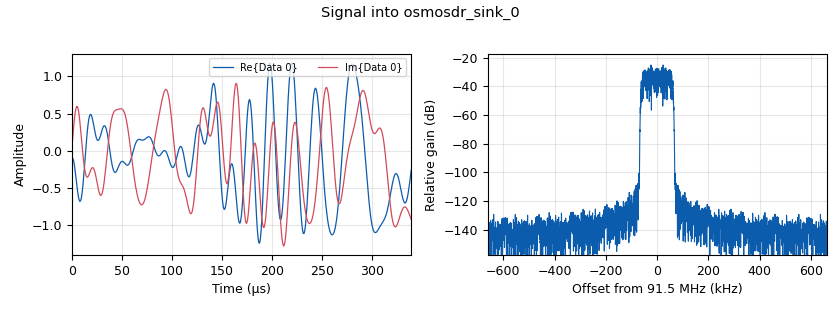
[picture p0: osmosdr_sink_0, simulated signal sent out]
<?xml version='1.0' encoding='utf-8'?>
<?grc format='1' created='3.7.9'?>
<flow_graph>
<block>
<key>options</key>
<param><key>id</key><value>hackrfTransmit</value></param>
<param><key>category</key><value>Custom</value></param>
<param><key>generate_options</key><value>qt_gui</value></param>
<param><key>realtime_scheduling</key><value>1</value></param>
</block>
<block>
<key>variable_qtgui_range</key>
<param><key>id</key><value>Audio_Rate</value></param>
<param><key>value</key><value>44100</value></param>
<param><key>label</key><value>Audio Rate</value></param>
<param><key>orient</key><value>Qt.Horizontal</value></param>
<param><key>start</key><value>0</value></param>
<param><key>step</key><value>1</value></param>
<param><key>stop</key><value>10000000</value></param>
<param><key>rangeType</key><value>int</value></param>
</block>
<block>
<key>variable</key>
<param><key>id</key><value>audio_samp</value></param>
<param><key>value</key><value>Audio_Rate</value></param>
</block>
<block>
<key>variable_qtgui_range</key>
<param><key>id</key><value>decimation</value></param>
<param><key>value</key><value>1</value></param>
<param><key>label</key><value>decimation</value></param>
<param><key>orient</key><value>Qt.Horizontal</value></param>
<param><key>start</key><value>0</value></param>
<param><key>step</key><value>1</value></param>
<param><key>stop</key><value>100</value></param>
<param><key>rangeType</key><value>int</value></param>
</block>
<block>
<key>variable</key>
<param><key>id</key><value>freq</value></param>
<param><key>value</key><value>freq_sldr</value></param>
</block>
<block>
<key>variable_qtgui_range</key>
<param><key>id</key><value>freq_sldr</value></param>
<param><key>value</key><value>91.5e6</value></param>
<param><key>label</key><value>Frequency Slider</value></param>
<param><key>orient</key><value>Qt.Horizontal</value></param>
<param><key>start</key><value>0</value></param>
<param><key>step</key><value>1</value></param>
<param><key>stop</key><value>6000.0e6</value></param>
</block>
<block>
<key>variable_qtgui_range</key>
<param><key>id</key><value>interpolation</value></param>
<param><key>value</key><value>10</value></param>
<param><key>label</key><value>Rational Resampler</value></param>
<param><key>orient</key><value>Qt.Horizontal</value></param>
<param><key>start</key><value>0</value></param>
<param><key>step</key><value>1</value></param>
<param><key>stop</key><value>100</value></param>
<param><key>rangeType</key><value>int</value></param>
</block>
<block>
<key>variable</key>
<param><key>id</key><value>quad_rate</value></param>
<param><key>value</key><value>audio_samp*3</value></param>
</block>
<block>
<key>variable</key>
<param><key>id</key><value>samp_rate</value></param>
<param><key>comment</key><value>1.323M
1.03M is lowest</value></param>
<param><key>value</key><value>samp_rate_sldr</value></param>
</block>
<block>
<key>variable_qtgui_range</key>
<param><key>id</key><value>samp_rate_sldr</value></param>
<param><key>value</key><value>1.323e6</value></param>
<param><key>label</key><value>Sample Rate Slider</value></param>
<param><key>orient</key><value>Qt.Horizontal</value></param>
<param><key>start</key><value>0</value></param>
<param><key>step</key><value>1</value></param>
<param><key>stop</key><value>6.00e6</value></param>
</block>
<block>
<key>analog_sig_source_x</key>
<param><key>id</key><value>analog_sig_source_x_0_0</value></param>
<param><key>amp</key><value>.8</value></param>
<param><key>freq</key><value>600</value></param>
<param><key>offset</key><value>0</value></param>
<param><key>type</key><value>float</value></param>
<param><key>samp_rate</key><value>48000</value></param>
<param><key>waveform</key><value>analog.GR_SIN_WAVE</value></param>
</block>
<block>
<key>analog_sig_source_x</key>
<param><key>id</key><value>analog_sig_source_x_0_0_0</value></param>
<param><key>amp</key><value>.8</value></param>
<param><key>freq</key><value>1000</value></param>
<param><key>offset</key><value>0</value></param>
<param><key>type</key><value>float</value></param>
<param><key>samp_rate</key><value>48000</value></param>
<param><key>waveform</key><value>analog.GR_SIN_WAVE</value></param>
</block>
<block>
<key>analog_sig_source_x</key>
<param><key>id</key><value>analog_sig_source_x_1</value></param>
<param><key>amp</key><value>1</value></param>
<param><key>freq</key><value>1</value></param>
<param><key>offset</key><value>0</value></param>
<param><key>type</key><value>float</value></param>
<param><key>samp_rate</key><value>48000</value></param>
<param><key>waveform</key><value>analog.GR_SQR_WAVE</value></param>
</block>
<block>
<key>analog_wfm_tx</key>
<param><key>id</key><value>analog_wfm_tx_0</value></param>
<param><key>audio_rate</key><value>audio_samp</value></param>
<param><key>max_dev</key><value>75e3</value></param>
<param><key>quad_rate</key><value>quad_rate</value></param>
<param><key>tau</key><value>75e-6</value></param>
</block>
<block>
<key>blocks_abs_xx</key>
<param><key>id</key><value>blocks_abs_xx_0</value></param>
<param><key>type</key><value>float</value></param>
</block>
<block>
<key>blocks_add_const_vxx</key>
<param><key>id</key><value>blocks_add_const_vxx_0</value></param>
<param><key>const</key><value>-1</value></param>
<param><key>type</key><value>float</value></param>
</block>
<block>
<key>blocks_add_xx</key>
<param><key>id</key><value>blocks_add_xx_0</value></param>
<param><key>type</key><value>float</value></param>
</block>
<block>
<key>blocks_multiply_xx</key>
<param><key>id</key><value>blocks_multiply_xx_0</value></param>
<param><key>type</key><value>float</value></param>
</block>
<block>
<key>blocks_multiply_xx</key>
<param><key>id</key><value>blocks_multiply_xx_0_0</value></param>
<param><key>type</key><value>float</value></param>
</block>
<block>
<key>osmosdr_sink</key>
<param><key>id</key><value>osmosdr_sink_0</value></param>
<param><key>bb_gain0</key><value>0</value></param>
<param><key>freq0</key><value>freq</value></param>
<param><key>if_gain0</key><value>47</value></param>
<param><key>gain0</key><value>14</value></param>
<param><key>args</key><value></value></param>
<param><key>type</key><value>fc32</value></param>
<param><key>sample_rate</key><value>samp_rate</value></param>
<param><key>sync</key><value></value></param>
</block>
<block>
<key>qtgui_sink_x</key>
<param><key>id</key><value>qtgui_sink_x_0</value></param>
<param><key>bw</key><value>samp_rate</value></param>
<param><key>fc</key><value>freq</value></param>
<param><key>freqchangevar</key><value>None</value></param>
<param><key>_enabled</key><value>0</value></param>
<param><key>fftsize</key><value>1024</value></param>
<param><key>showports</key><value>True</value></param>
<param><key>type</key><value>complex</value></param>
<param><key>wintype</key><value>firdes.WIN_BLACKMAN_hARRIS</value></param>
</block>
<block>
<key>rational_resampler_xxx</key>
<param><key>id</key><value>rational_resampler_xxx_0</value></param>
<param><key>comment</key><value>Interpolation 10
8 Is our current with 1.03M</value></param>
<param><key>decim</key><value>decimation</value></param>
<param><key>interp</key><value>interpolation</value></param>
<param><key>taps</key><value></value></param>
<param><key>type</key><value>ccc</value></param>
</block>
<connection><source_block_id>analog_sig_source_x_0_0</source_block_id><sink_block_id>blocks_multiply_xx_0</sink_block_id><source_key>0</source_key><sink_key>0</sink_key></connection>
<connection><source_block_id>analog_sig_source_x_0_0_0</source_block_id><sink_block_id>blocks_multiply_xx_0_0</sink_block_id><source_key>0</source_key><sink_key>0</sink_key></connection>
<connection><source_block_id>analog_sig_source_x_1</source_block_id><sink_block_id>blocks_add_const_vxx_0</sink_block_id><source_key>0</source_key><sink_key>0</sink_key></connection>
<connection><source_block_id>analog_sig_source_x_1</source_block_id><sink_block_id>blocks_multiply_xx_0</sink_block_id><source_key>0</source_key><sink_key>1</sink_key></connection>
<connection><source_block_id>analog_wfm_tx_0</source_block_id><sink_block_id>rational_resampler_xxx_0</sink_block_id><source_key>0</source_key><sink_key>0</sink_key></connection>
<connection><source_block_id>blocks_abs_xx_0</source_block_id><sink_block_id>blocks_multiply_xx_0_0</sink_block_id><source_key>0</source_key><sink_key>1</sink_key></connection>
<connection><source_block_id>blocks_add_const_vxx_0</source_block_id><sink_block_id>blocks_abs_xx_0</sink_block_id><source_key>0</source_key><sink_key>0</sink_key></connection>
<connection><source_block_id>blocks_add_xx_0</source_block_id><sink_block_id>analog_wfm_tx_0</sink_block_id><source_key>0</source_key><sink_key>0</sink_key></connection>
<connection><source_block_id>blocks_multiply_xx_0</source_block_id><sink_block_id>blocks_add_xx_0</sink_block_id><source_key>0</source_key><sink_key>0</sink_key></connection>
<connection><source_block_id>blocks_multiply_xx_0_0</source_block_id><sink_block_id>blocks_add_xx_0</sink_block_id><source_key>0</source_key><sink_key>1</sink_key></connection>
<connection><source_block_id>rational_resampler_xxx_0</source_block_id><sink_block_id>osmosdr_sink_0</sink_block_id><source_key>0</source_key><sink_key>0</sink_key></connection>
<connection><source_block_id>rational_resampler_xxx_0</source_block_id><sink_block_id>qtgui_sink_x_0</sink_block_id><source_key>0</source_key><sink_key>0</sink_key></connection>
</flow_graph>
